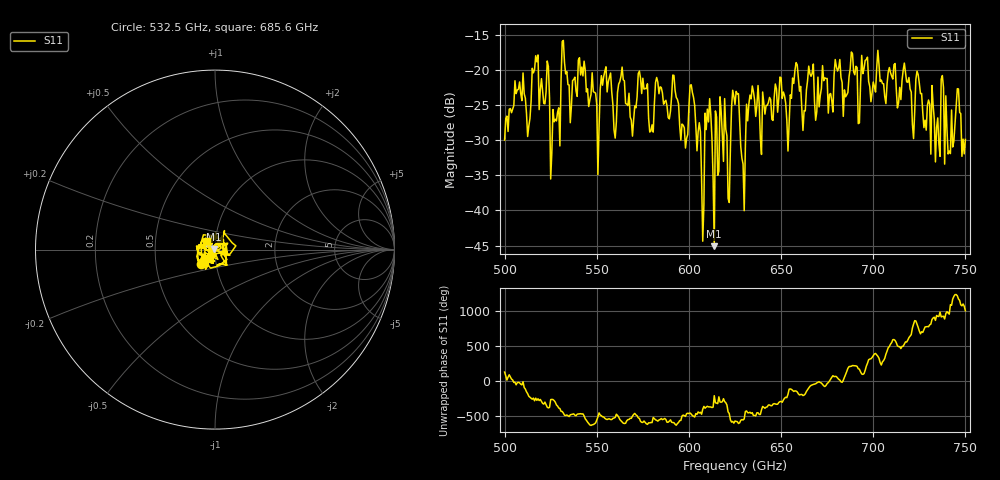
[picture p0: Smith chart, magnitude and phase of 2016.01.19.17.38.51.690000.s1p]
!Created with skrf (http://scikit-rf.org).
# GHz S RI R 50.0
!freq ReS11 ImS11
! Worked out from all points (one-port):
!   401 points, 500 GHz to 750 GHz, reference 50 ohm
!   lowest |S11| = -45.1 dB at 613.8 GHz (marker M1), VSWR 1.01, Z = 49.5 + j0.313 ohm
!   |S11| at or under -10 dB: start of sweep to end of sweep
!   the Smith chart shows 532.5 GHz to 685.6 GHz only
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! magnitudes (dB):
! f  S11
! 500 GHz  -30.0
! 506.9 GHz  -22.9
! 513.1 GHz  -28.0
! 516.9 GHz  -18.0
! 526.2 GHz  -25.7
! 531.2 GHz  -16.0
! 550 GHz  -25.0
! 562.5 GHz  -21.7
! 569.4 GHz  -29.4
! 576.2 GHz  -22.7
! 579.4 GHz  -28.7
! 583.1 GHz  -21.8
! 593.8 GHz  -24.2
! 598.1 GHz  -31.1
! 601.9 GHz  -23.2
! 606.9 GHz  -35.5
! 610 GHz  -25.6
! 613.8 GHz  -45.1
! 618.1 GHz  -29.3
! 621.2 GHz  -38.3
! 625 GHz  -24.9
! 629.4 GHz  -33.4
! 633.8 GHz  -24.1
! 656.2 GHz  -21.2
! 687.5 GHz  -19.9
! 718.8 GHz  -21.8
! 746.2 GHz  -22.7
! 750 GHz  -29.9
